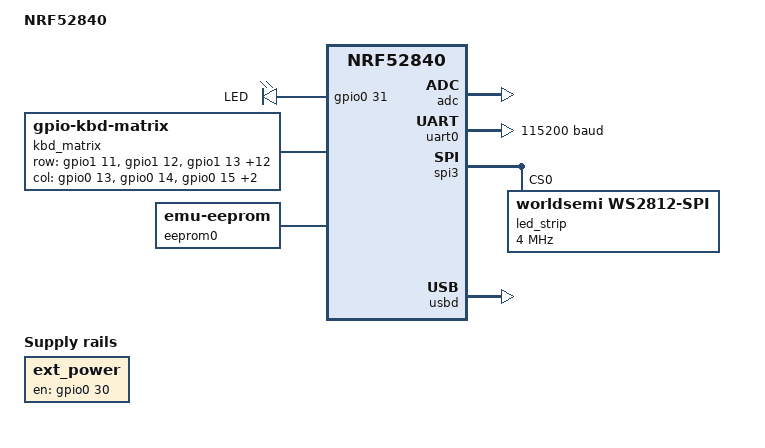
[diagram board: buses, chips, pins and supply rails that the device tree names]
/dts-v1/;
#include <nordic/nrf52840_qiaa.dtsi>
#include "NRF52840-pinctrl.dtsi"
#include <zephyr/dt-bindings/dt-util.h>   // BIT()
#include <zephyr/dt-bindings/led/led.h>      // LED_COLOR_ID_* (ws2812 color-mapping)

/ {
	model = "NRF52840";
	compatible = "baram,NRF52840";

	chosen {
		zephyr,sram = &sram0;
		zephyr,flash = &flash0;
		zephyr,code-partition = &code_partition;
    zephyr,console = &uart0;
	};

  leds {
    compatible = "gpio-leds";
    led: led_0 {
      gpios = <&gpio0 31 GPIO_ACTIVE_HIGH>;
      label = "LED";
    };
  };  

	usb_hid_kbd: hid_kbd {
		compatible = "zephyr,hid-device";
		label = "HID_KBD";
		protocol-code = "keyboard";
		in-report-size = <64>;
		in-polling-period-us = <1000>;
	};  

	usb_hid_via: hid_via {
		compatible = "zephyr,hid-device";
		label = "HID_VIA";
		protocol-code = "none";
		in-report-size = <32>;
    out-report-size = <32>;
		in-polling-period-us = <1000>;
    out-polling-period-us = <1000>;
	};

	usb_hid_exk: hid_exk {
		compatible = "zephyr,hid-device";
		label = "HID_EXK";
		protocol-code = "none";
		in-report-size = <64>;
		in-polling-period-us = <1000>;
  };

  /*
   * 키 매트릭스 — Zephyr 네이티브 gpio-kbd-matrix.
   *
   * [주의] Zephyr 명명은 반대다: row-gpios = 입력, col-gpios = 구동 출력.
   * wish60 은 row2col 이라 역매핑한다 — row-gpios = wish60 col(15), col-gpios = wish60 row(5).
   * 배경은 docs/PORTING-NOTES.md §2.4 참고.
   */
  /*
   * 네오픽셀 전원 레일 (wish60: P0.30).
   *
   * ZMK 는 zmk,ext-power-generic 이라는 자체 바인딩을 쓰지만, 이건 본질적으로 GPIO 로 켜고 끄는
   * 고정 레귤레이터라 Zephyr 네이티브 regulator-fixed 로 충분하다(regulator_enable/disable).
   * 흡수 코드 0 — kbd-matrix / MAX17048 과 같은 판단.
   *
   * wish60/wish65 둘 다 이 레일은 **네오픽셀만** 끊는다(595 는 상시 전원) — 확인됨.
   * regulator-boot-on 을 주지 않는다 = 부팅 시 꺼진 상태. RGB 를 켤 때만 올린다(전력).
   */
  ext_power: ext-power {
    compatible = "regulator-fixed";
    regulator-name = "ext-power";
    enable-gpios = <&gpio0 30 GPIO_ACTIVE_HIGH>;
    startup-delay-us = <1000>;   /* 레일이 올라올 시간. 바로 쓰면 첫 프레임이 깨진다 */
  };

  kbd_matrix: kbd-matrix {
    compatible = "gpio-kbd-matrix";

    row-gpios = <&gpio1 11 (GPIO_ACTIVE_HIGH | GPIO_PULL_DOWN)>,   /* wish60 col0  */
                <&gpio1 12 (GPIO_ACTIVE_HIGH | GPIO_PULL_DOWN)>,   /* col1  */
                <&gpio1 13 (GPIO_ACTIVE_HIGH | GPIO_PULL_DOWN)>,   /* col2  */
                <&gpio1 14 (GPIO_ACTIVE_HIGH | GPIO_PULL_DOWN)>,   /* col3  */
                <&gpio1 15 (GPIO_ACTIVE_HIGH | GPIO_PULL_DOWN)>,   /* col4  */
                <&gpio0  3 (GPIO_ACTIVE_HIGH | GPIO_PULL_DOWN)>,   /* col5  */
                <&gpio0 17 (GPIO_ACTIVE_HIGH | GPIO_PULL_DOWN)>,   /* col6  */
                <&gpio0 21 (GPIO_ACTIVE_HIGH | GPIO_PULL_DOWN)>,   /* col7  */
                <&gpio0 20 (GPIO_ACTIVE_HIGH | GPIO_PULL_DOWN)>,   /* col8  */
                <&gpio0 23 (GPIO_ACTIVE_HIGH | GPIO_PULL_DOWN)>,   /* col9  */
                <&gpio0 22 (GPIO_ACTIVE_HIGH | GPIO_PULL_DOWN)>,   /* col10 */
                <&gpio1  0 (GPIO_ACTIVE_HIGH | GPIO_PULL_DOWN)>,   /* col11 */
                <&gpio0 24 (GPIO_ACTIVE_HIGH | GPIO_PULL_DOWN)>,   /* col12 */
                <&gpio0 25 (GPIO_ACTIVE_HIGH | GPIO_PULL_DOWN)>,   /* col13 */
                <&gpio1 10 (GPIO_ACTIVE_HIGH | GPIO_PULL_DOWN)>;   /* col14 */

    col-gpios = <&gpio0 13 GPIO_ACTIVE_HIGH>,                      /* wish60 row0 */
                <&gpio0 14 GPIO_ACTIVE_HIGH>,                      /* row1 */
                <&gpio0 15 GPIO_ACTIVE_HIGH>,                      /* row2 */
                <&gpio0 16 GPIO_ACTIVE_HIGH>,                      /* row3 */
                <&gpio1  2 GPIO_ACTIVE_HIGH>;                      /* row4 */

    idle-mode = "interrupt";   /* 키 없을 때 인터럽트 대기 → CPU sleep */
    wakeup-source;             /* deep sleep(Phase 6)에서 wakeup 소스로 유지 */
    no-ghostkey-check;         /* 다이오드(row2col) 있으므로 고스팅 검사 불필요 */

    /*
     * 키 눌린 동안 매트릭스 재스캔 주기. QMK 처리 주기(config.h 의 QMK_TASK_PERIOD_MS)와는
     * **별개 노브**다 — 같을 필요 없다. 둘 다 CPU 를 깨우므로 전력엔 둘 다 영향을 준다.
     * 실측/근거는 docs/PORTING-NOTES.md §6.4.
     */
    poll-period-ms   = <2>;    /* 키 변화 감지 지연 <=2ms, USB 리포트율 500Hz */
    debounce-down-ms = <0>;    /* 디바운스는 QMK 가 담당 (이중 디바운스 방지) */
    debounce-up-ms   = <0>;
  };
};

&flash0 {
	/*
	 * wish60 단일슬롯 레이아웃. UF2 부트로더가 미리 들어있다고 전제하고 앱만 빌드한다.
	 * 반드시 --no-sysbuild 로 빌드할 것(안 그러면 부팅 안 함). docs/PORTING-NOTES.md §2.2/§2.3.
	 */
	partitions {
		compatible = "fixed-partitions";
		#address-cells = <1>;
		#size-cells = <1>;

		sd_partition: partition@0 {
			reg = <0x00000000 0x00001000>;
		};

		code_partition: partition@1000 {
			reg = <0x00001000 0x000d3000>;
		};

		/* QMK 키맵 영속화용 emu-eeprom 백엔드 (32KB = 8 페이지) */
		eeprom_partition: partition@d4000 {
			label = "eeprom";
			reg = <0x000d4000 0x00008000>;
		};

		/* 향후 NVS/settings (BLE bond 등, Phase 5) */
		storage_partition: partition@dc000 {
			label = "storage";
			reg = <0x000dc000 0x00018000>;
		};

		boot_partition: partition@f4000 {
			reg = <0x000f4000 0x0000c000>;
		};
	};
};

/ {
	/* QMK dynamic_keymap 저장소. size 는 config.h 의 TOTAL_EEPROM_BYTE_COUNT 와 일치시킬 것. */
	eeprom0: eeprom {
		compatible = "zephyr,emu-eeprom";
		size = <4096>;          /* 논리 EEPROM 크기 = config.h TOTAL_EEPROM_BYTE_COUNT */
		pagesize = <0x2000>;    /* 에뮬 페이지(=플래시 2페이지). size 보다 커야 함 */
		partition = <&eeprom_partition>;
		rambuf;             /* 읽기를 RAM 에서 → 플래시 read 회피 */
		partition-erase;    /* erase 지연·통합 → 플래시 erase 최소화 */
	};
};

/*
 * sense-edge-mask — row-gpios(입력) 핀을 그대로 BIT() 로 나열한다. 빠지면 빌드 에러
 * (port/matrix.c 의 BUILD_ASSERT). 이유는 docs/PORTING-NOTES.md §3.5 참고.
 */
&gpio0 {
  status = "okay";
  sense-edge-mask = <(BIT(3) | BIT(17) | BIT(20) | BIT(21) |
                      BIT(22) | BIT(23) | BIT(24) | BIT(25))>;
};

&gpiote {
  status = "okay";
};

/*
 * 배터리 잔량(VDDH) 측정용. MAX17048(i2c1 @0x36) 노드를 켜면 driver/battery.c 가 연료게이지
 * 백엔드로 자동 전환한다. docs/PORTING-NOTES.md §6.3 참고.
 */
&adc {
  status = "okay";
};

&uart0 {
  status = "okay";
  pinctrl-0 = <&uart0_default>;
  pinctrl-1 = <&uart0_sleep>;
  pinctrl-names = "default", "sleep";
  compatible = "nordic,nrf-uarte";
  current-speed = <115200>;
};

&gpio1 {
  status = "okay";
  sense-edge-mask = <(BIT(0) | BIT(10) | BIT(11) | BIT(12) |
                      BIT(13) | BIT(14) | BIT(15))>;
};

/*
 * 네오픽셀 — Zephyr 네이티브 worldsemi,ws2812-spi (SPIM MOSI 로 비트 패턴을 쏜다).
 * ZMK 도 같은 드라이버를 쓴다. 전원은 위 ext_power 레일이 공급한다.
 * 값(chain-length/color-mapping/frame)은 wish60 회로 기준.
 */
&spi3 {
  compatible = "nordic,nrf-spim";
  status = "okay";
  pinctrl-0 = <&spi3_default>;
  pinctrl-1 = <&spi3_sleep>;
  pinctrl-names = "default", "sleep";

  led_strip: ws2812@0 {
    compatible = "worldsemi,ws2812-spi";
    reg = <0>;                  /* SPI 바인딩상 필요하지만 CS 는 안 쓴다 */
    spi-max-frequency = <4000000>;

    chain-length = <16>;        /* wish60 언더글로우 LED 개수 */
    spi-one-frame = <0x70>;
    spi-zero-frame = <0x40>;
    color-mapping = <LED_COLOR_ID_GREEN LED_COLOR_ID_RED LED_COLOR_ID_BLUE>;
  };
};

zephyr_udc0: &usbd {
	compatible = "nordic,nrf-usbd";
	status = "okay";
	num-bidir-endpoints = <0>;
	num-in-endpoints = <7>;
	num-out-endpoints = <2>;
	num-isoin-endpoints = <0>;
	num-isoout-endpoints = <0>;
};
